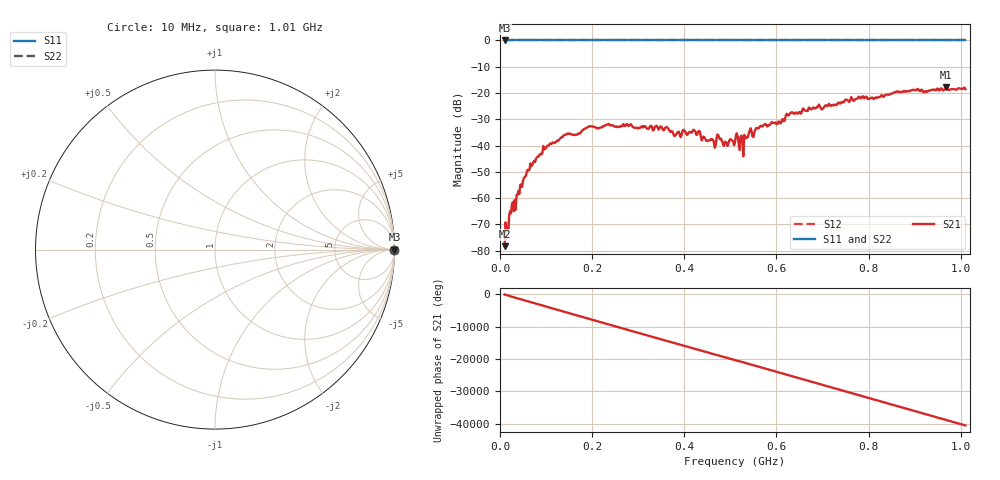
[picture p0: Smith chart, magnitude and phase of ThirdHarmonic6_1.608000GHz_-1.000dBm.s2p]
! 8/16/2025 7:11:13 PM
! C:\ANRITSUVNA\TEMP\TEMP.S2P
! CHANNEL.1
! TR.MEASUREMENT
! RAW.DATA
! RF.CORRECTION.OFF
! AVERAGING.OFF
! IF.BANDWIDTH: 5KHZ
! SWEEPTYPE:  FREQ.SWEEP(Linear)
! Reference Plane Port Info
! PORT:  PORT1  PORT2
! DISTANCE:  0  m  0  m
! TIME:  0  s  0  s
! PHASE.OFFSET:  0  deg.  0  deg.
! LOSS:  0  dB  0  dB
! REF.LOSS:  0  dB  0  dB
! REF.FREQ:  0  Hz  0  Hz
! Power Info
! POWER:  -20  dBm  -20  dBm
! EFF.POWER:  -20  dBm  -20  dBm
! SOURCE.ATTEN:  0  dB  0  dB
! TEST.ATTEN:  0  dB  0  dB
# GHZ S RI R 50.0
! FREQ.GHZ  S11RE  S11IM  S21RE  S21IM  S12RE  S12IM  S22RE  S22IM
!; PortSelection: Port_12
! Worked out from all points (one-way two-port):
!   501 points, 10 MHz to 1.01 GHz, reference 50 ohm
!   highest |S21| = -17.89 dB at 968 MHz (marker M1); lowest = -78.3 dB at 10 MHz (marker M2)
!   lowest |S11| = 0.0 dB at 10 MHz (marker M3)
!   |S11| at or under -10 dB: nowhere
!   |S22| runs from 0.0 to 0.0 dB; largest |S21 - S12| = 1.1
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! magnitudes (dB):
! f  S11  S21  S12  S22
! 10 MHz  0.0  -78.3  0.0  0.0
! 24 MHz  0.0  -65.7  0.0  0.0
! 70 MHz  0.0  -47.3  0.0  0.0
! 106 MHz  0.0  -39.9  0.0  0.0
! 142 MHz  0.0  -36.0  0.0  0.0
! 178 MHz  0.0  -34.3  0.0  0.0
! 234 MHz  0.0  -32.0  0.0  0.0
! 344 MHz  0.0  -33.9  0.0  0.0
! 380 MHz  0.0  -36.2  0.0  0.0
! 420 MHz  0.0  -33.9  0.0  0.0
! 464 MHz  0.0  -38.6  0.0  0.0
! 474 MHz  0.0  -36.2  0.0  0.0
! 490 MHz  0.0  -38.6  0.0  0.0
! 510 MHz  0.0  -38.7  0.0  0.0
! 524 MHz  0.0  -36.1  0.0  0.0
! 542 MHz  0.0  -34.2  0.0  0.0
! 550 MHz  0.0  -36.8  0.0  0.0
! 562 MHz  0.0  -33.3  0.0  0.0
! 678 MHz  0.0  -25.9  0.0  0.0
! 844 MHz  0.0  -20.7  0.0  0.0
! 968 MHz  0.0  -17.9  0.0  0.0
! 1.01 GHz  0.0  -18.5  0.0  0.0
